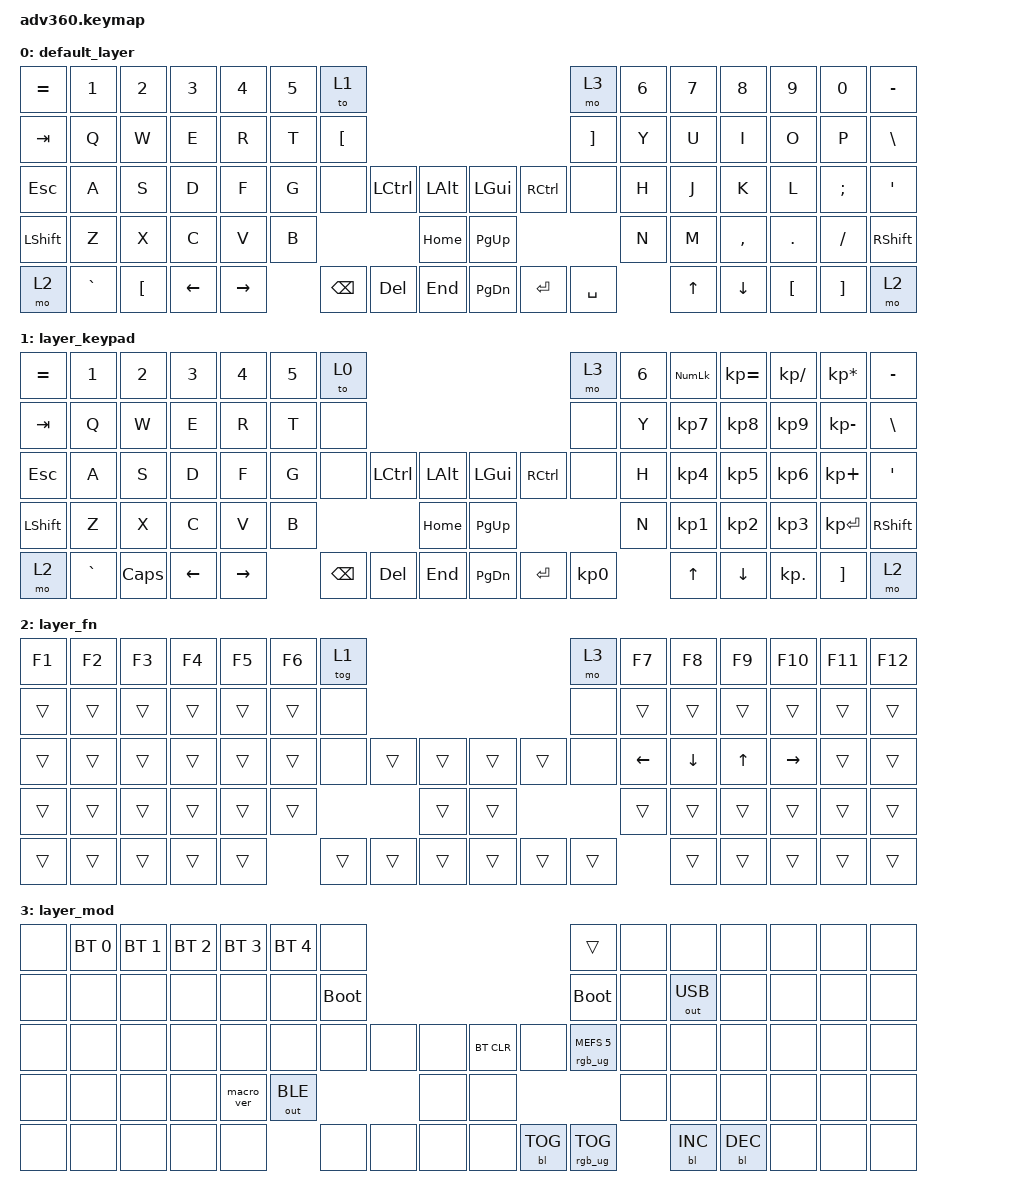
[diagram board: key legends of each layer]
/*
 * Copyright (c) 2020 The ZMK Contributors
 *
 * SPDX-License-Identifier: MIT
 */
/* THIS FILE WAS GENERATED!
 *
 * This file was generated automatically. You may or may not want to
 * edit it directly.
 */

#include <behaviors.dtsi>
#include <dt-bindings/zmk/backlight.h>
#include <dt-bindings/zmk/bt.h>
#include <dt-bindings/zmk/keys.h>
#include <dt-bindings/zmk/outputs.h>
#include <dt-bindings/zmk/rgb.h>

/ {
    behaviors {
        #include "macros.dtsi"
    #include "version.dtsi"

        hm: homerow_mods {
            compatible = "zmk,behavior-hold-tap";
            label = "HOMEROW_MODS";
            #binding-cells = <2>;
            tapping-term-ms = <200>;
            quick_tap_ms = <175>;
            flavor = "tap-preferred";
            bindings = <&kp>, <&kp>;
        };
    };

    keymap {
        compatible = "zmk,keymap";

        default_layer {
            bindings = <
&kp EQUAL  &kp N1     &kp N2    &kp N3    &kp N4     &kp N5  &to 1                                                    &mo 3      &kp N6  &kp N7  &kp N8     &kp N9    &kp N0    &kp MINUS
&kp TAB    &kp Q      &kp W     &kp E     &kp R      &kp T   &kp LBKT                                                 &kp RBKT   &kp Y   &kp U   &kp I      &kp O     &kp P     &kp BSLH
&kp ESC    &kp A      &kp S     &kp D     &kp F      &kp G   &none     &kp LCTRL  &kp LALT      &kp LGUI   &kp RCTRL  &none      &kp H   &kp J   &kp K      &kp L     &kp SEMI  &kp SQT
&kp LSHFT  &kp Z      &kp X     &kp C     &kp V      &kp B                        &kp HOME      &kp PG_UP                        &kp N   &kp M   &kp COMMA  &kp DOT   &kp FSLH  &kp RSHFT
&mo 2      &kp GRAVE  &kp LBKT  &kp LEFT  &kp RIGHT          &kp BSPC  &kp DEL    &kp END       &kp PG_DN  &kp ENTER  &kp SPACE          &kp UP  &kp DOWN   &kp LBKT  &kp RBKT  &mo 2
            >;
        };

        layer_keypad {
            bindings = <
&kp EQUAL  &kp N1     &kp N2    &kp N3    &kp N4     &kp N5  &to 0                                                    &mo 3      &kp N6  &kp KP_NUM  &kp KP_EQUAL  &kp KP_DIVIDE  &kp KP_MULTIPLY  &kp MINUS
&kp TAB    &kp Q      &kp W     &kp E     &kp R      &kp T   &none                                                    &none      &kp Y   &kp KP_N7   &kp KP_N8     &kp KP_N9      &kp KP_MINUS     &kp BSLH
&kp ESC    &kp A      &kp S     &kp D     &kp F      &kp G   &none     &kp LCTRL  &kp LALT      &kp LGUI   &kp RCTRL  &none      &kp H   &kp KP_N4   &kp KP_N5     &kp KP_N6      &kp KP_PLUS      &kp SQT
&kp LSHFT  &kp Z      &kp X     &kp C     &kp V      &kp B                        &kp HOME      &kp PG_UP                        &kp N   &kp KP_N1   &kp KP_N2     &kp KP_N3      &kp KP_ENTER     &kp RSHFT
&mo 2      &kp GRAVE  &kp CAPS  &kp LEFT  &kp RIGHT          &kp BSPC  &kp DEL    &kp END       &kp PG_DN  &kp ENTER  &kp KP_N0          &kp UP      &kp DOWN      &kp KP_DOT     &kp RBKT         &mo 2
            >;
        };

        layer_fn {
            bindings = <
&kp F1  &kp F2  &kp F3  &kp F4  &kp F5  &kp F6  &tog 1                                      &mo 3   &kp F7          &kp F8          &kp F9        &kp F10          &kp F11  &kp F12
&trans  &trans  &trans  &trans  &trans  &trans  &none                                       &none   &trans          &trans          &trans        &trans           &trans   &trans
&trans  &trans  &trans  &trans  &trans  &trans  &none   &trans  &trans      &trans  &trans  &none   &kp LEFT_ARROW  &kp DOWN_ARROW  &kp UP_ARROW  &kp RIGHT_ARROW  &trans   &trans
&trans  &trans  &trans  &trans  &trans  &trans                  &trans      &trans                  &trans          &trans          &trans        &trans           &trans   &trans
&trans  &trans  &trans  &trans  &trans          &trans  &trans  &trans      &trans  &trans  &trans                  &trans          &trans        &trans           &trans   &trans
            >;
        };

        layer_mod {
            bindings = <
&none  &bt BT_SEL 0  &bt BT_SEL 1  &bt BT_SEL 2  &bt BT_SEL 3  &bt BT_SEL 4  &none                                                  &trans                  &none  &none       &none       &none  &none  &none
&none  &none         &none         &none         &none         &none         &bootloader                                            &bootloader             &none  &out OUT_USB  &none       &none  &none  &none
&none  &none         &none         &none         &none         &none         &none        &none  &none      &bt BT_CLR  &none       &rgb_ug RGB_MEFS_CMD 5  &none  &none       &none       &none  &none  &none
&none  &none         &none         &none         &macro_ver    &out OUT_BLE                      &none      &none                                           &none  &none       &none       &none  &none  &none
&none  &none         &none         &none         &none                       &none        &none  &none      &none       &bl BL_TOG  &rgb_ug RGB_TOG                &bl BL_INC  &bl BL_DEC  &none  &none  &none
            >;
        };
    };
};
